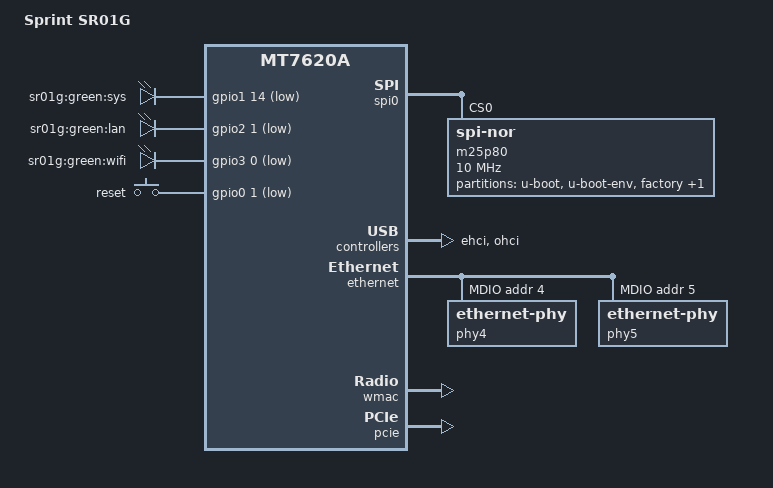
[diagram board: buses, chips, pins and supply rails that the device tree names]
/dts-v1/;

#include "mt7620a.dtsi"

#include <dt-bindings/gpio/gpio.h>
#include <dt-bindings/input/input.h>

/ {
	compatible = "sprint,sr01g", "ralink,mt7620a-soc";
	model = "Sprint SR01G";

	aliases {
                led-boot = &led_sys;
                led-failsafe = &led_sys;
                led-running = &led_sys;
                led-upgrade = &led_sys;
        };

	leds {
                compatible = "gpio-leds";

                led_sys: sys {
                        label = "sr01g:green:sys";
                        gpios = <&gpio1 14 GPIO_ACTIVE_LOW>;
                };

                lan {
                        label = "sr01g:green:lan";
                        gpios = <&gpio2 1 GPIO_ACTIVE_LOW>;
                        trigger-sources = <&ohci_port1>, <&ehci_port1>;
                        linux,default-trigger = "usbport";
                };

                wifi {
                        label = "sr01g:green:wifi";
                        gpios = <&gpio3 0 GPIO_ACTIVE_LOW>;
                };
        };

	chosen {
		bootargs = "console=ttyS0,115200";
	};

	keys {
		compatible = "gpio-keys";

		reset {
			label = "reset";
			gpios = <&gpio0 1 GPIO_ACTIVE_LOW>;
			linux,code = <KEY_RESTART>;
		};
	};
};

&gpio0 {
        status = "okay";
};


&gpio1 {
	status = "okay";
};

&gpio2 {
        status = "okay";
};


&gpio3 {
	status = "okay";
};
	
&spi0 {
	status = "okay";

	m25p80@0 {
		compatible = "jedec,spi-nor";
		reg = <0>;
		spi-max-frequency = <10000000>;

		partitions {
			compatible = "fixed-partitions";
			#address-cells = <1>;
			#size-cells = <1>;

			partition@0 {
				label = "u-boot";
				reg = <0x0 0x30000>;
			};

			partition@30000 {
				label = "u-boot-env";
				reg = <0x30000 0x10000>;
				read-only;
			};

			factory: partition@40000 {
				label = "factory";
				reg = <0x40000 0x10000>;
				read-only;
			};

			partition@50000 {
				compatible = "denx,uimage";
				label = "firmware";
				reg = <0x50000 0xf80000>;
			};

		};
	};
};

&ehci {
	status = "okay";
};

&ohci {
	status = "okay";
};

&pinctrl {
        state_default: pinctrl0 {
                default {
                        ralink,group = "i2c", "ephy", "uartf", "spi refclk", "wled";
                        ralink,function = "gpio";
                };
        };
};

&ethernet {
        status = "okay";
        pinctrl-names = "default";
        mtd-mac-address = <&factory 0x4>;
		pinctrl-0 = <&rgmii1_pins &rgmii2_pins &mdio_pins>;

        port@4 {
                status = "okay";
                phy-handle = <&phy4>;
                phy-mode = "rgmii";
        };

        port@5 {
                status = "okay";
                phy-handle = <&phy5>;
                phy-mode = "rgmii";
        };

        mdio-bus {
                status = "okay";

                phy4: ethernet-phy@4 {
                        reg = <4>;
                        phy-mode = "rgmii-rxid";
                };

                phy5: ethernet-phy@5 {
                        reg = <5>;
                        phy-mode = "rgmii-rxid";
                };
        };
};


&wmac {
	ralink,mtd-eeprom = <&factory 0>;
	pinctrl-names = "default";
	pinctrl-0 = <&pa_pins>;
};

&pcie {
	status = "okay";
};

&pcie0 {
	mt76@0,0 {
		reg = <0x0000 0 0 0 0>;
		mediatek,mtd-eeprom = <&factory 0x8000>;
		ieee80211-freq-limit = <5000000 6000000>;
		led {
                        led-sources = <2>;
						led-active-low;
	
                };


	};
};


&gsw {
        mediatek,port4 = "gmac";
};
